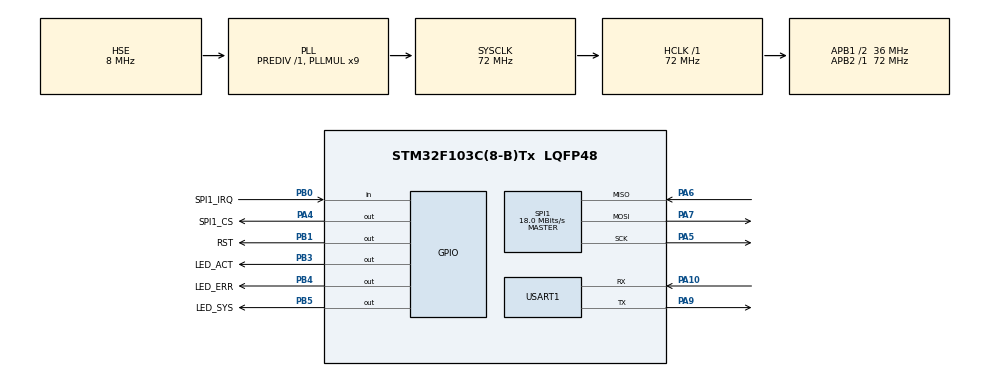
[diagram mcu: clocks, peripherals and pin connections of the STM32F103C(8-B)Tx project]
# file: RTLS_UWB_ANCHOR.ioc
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IWDG.Prescaler=IWDG_PRESCALER_64
IWDG.Reload=624
Mcu.Family=STM32F1
Mcu.Name=STM32F103C(8-B)Tx
Mcu.Package=LQFP48
NVIC.PriorityGroup=NVIC_PRIORITYGROUP_4
NVIC.SPI1_IRQn=true\:0\:0\:false\:false\:true\:true\:true\:true
NVIC.USART1_IRQn=true\:0\:0\:false\:false\:true\:true\:true\:true
PA10.Mode=Asynchronous
PA10.Signal=USART1_RX
PA13.Mode=Serial_Wire
PA13.Signal=SYS_JTMS-SWDIO
PA14.Mode=Serial_Wire
PA14.Signal=SYS_JTCK-SWCLK
PA4.GPIO_Label=SPI1_CS
PA4.Signal=GPIO_Output
PA5.Mode=Full_Duplex_Master
PA5.Signal=SPI1_SCK
PA6.Mode=Full_Duplex_Master
PA6.Signal=SPI1_MISO
PA7.Mode=Full_Duplex_Master
PA7.Signal=SPI1_MOSI
PA9.Mode=Asynchronous
PA9.Signal=USART1_TX
PB0.GPIO_Label=SPI1_IRQ
PB0.Signal=GPIO_Input
PB1.GPIO_Label=RST
PB1.Signal=GPIO_Output
PB3.GPIO_Label=LED_ACT
PB3.Signal=GPIO_Output
PB4.GPIO_Label=LED_ERR
PB4.Signal=GPIO_Output
PB5.GPIO_Label=LED_SYS
PB5.Signal=GPIO_Output
PD0-OSC_IN.Mode=HSE-External-Oscillator
PD0-OSC_IN.Signal=RCC_OSC_IN
PD1-OSC_OUT.Mode=HSE-External-Oscillator
PD1-OSC_OUT.Signal=RCC_OSC_OUT
ProjectManager.HeapSize=0x200
ProjectManager.StackSize=0x400
ProjectManager.TargetToolchain=STM32CubeIDE
RCC.AHBFreq_Value=72000000
RCC.APB1CLKDivider=RCC_HCLK_DIV2
RCC.APB1Freq_Value=36000000
RCC.APB1TimFreq_Value=72000000
RCC.APB2Freq_Value=72000000
RCC.APB2TimFreq_Value=72000000
RCC.HCLKFreq_Value=72000000
RCC.PLLMUL=RCC_PLL_MUL9
RCC.PLLSourceVirtual=RCC_PLLSOURCE_HSE
RCC.SYSCLKFreq_VALUE=72000000
RCC.SYSCLKSource=RCC_SYSCLKSOURCE_PLLCLK
RCC.USBFreq_Value=72000000
SPI1.BaudRatePrescaler=SPI_BAUDRATEPRESCALER_4
SPI1.CalculateBaudRate=18.0 MBits/s
SPI1.Direction=SPI_DIRECTION_2LINES
SPI1.Mode=SPI_MODE_MASTER
SPI1.VirtualType=VM_MASTER
USART1.VirtualMode=VM_ASYNC
VP_IWDG_VS_IWDG.Mode=IWDG_Activate
board=custom

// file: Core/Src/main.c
/* USER CODE BEGIN Header */
/**ANCHOR ANCHOR ANCHOR ANCHOR ANCHOR ANCHOR
 ******************************************************************************
 * @file           : main.c
 * @brief          : Main program body
 ******************************************************************************
 * @attention
 *
 * Copyright (c) 2023 STMicroelectronics.
 * All rights reserved.
 *
 * This software is licensed under terms that can be found in the LICENSE file
 * in the root directory of this software component.
 * If no LICENSE file comes with this software, it is provided AS-IS.
 *
 ******************************************************************************
 */
/* USER CODE END Header */
#include "main.h"
#include "iwdg.h"
#include "spi.h"
#include "usart.h"
#include "gpio.h"

/* USER CODE BEGIN Includes */
#include <stdio.h>
#include <string.h>
#include "decawave/dw_api.h"
#include "log/log.h"
#include "mac/mac.h"
#include "led/led.h"
/* USER CODE END Includes */

/* USER CODE BEGIN PTD */
// Payload of Anchor send to Tag
typedef struct
{
  uint8_t pollRx[5];
  uint8_t answerTx[5];
  uint8_t finalRx[5];
} __attribute__((packed)) reportPayload_t;

// timestamp
typedef union timestamp_u
{
  uint8_t raw[5];
  uint64_t full;
  struct
  {
    uint32_t low32;
    uint8_t high8;
  } __attribute__((packed));
  struct
  {
    uint8_t low8;
    uint32_t high32;
  } __attribute__((packed));
} timestamp_t;

// typedef struct
// {
//   uint8_t typemess;
//   uint8_t seq;
//   // uint8_t anchorAddr[2];
// } txHandle_t;
/* USER CODE END PTD */

/* USER CODE BEGIN PD */
// The four packets for ranging
#define POLL 0x01 // Poll is initiated by the tag
#define ANSWER 0x02
#define FINAL 0x03
#define REPORT 0x04 // Report contains all measurement from the anchor

#define TYPE 0 // POLL, ANWSER, FINAL, REPORT
#define SEQ 1  // sequence

#define RX_TIMEOUT 1000
/* USER CODE END PD */

/* USER CODE BEGIN PV */
// Timestamps for ranging
static dwTimestamp_t poll_rx;
static dwTimestamp_t answer_tx;
static dwTimestamp_t final_rx;

#define ANTENNA_DELAY 16475

packet_t rxPacket = {0};
packet_t txPacket = {0};
// txHandle_t txHandle = {0};

uint8_t curr_seq = 1;
int curr_anchor = 0;
long int seq_mess = 1;
dwDeviceTypes_t device = {
    .extendedFrameLength = FRAME_LENGTH_NORMAL,
    .pacSize = PAC_SIZE_8,
    .pulseFrequency = TX_PULSE_FREQ_64MHZ,
    .dataRate = TRX_RATE_850KBPS,//TRX_RATE_6800KBPS,
    .preambleLength = TX_PREAMBLE_LEN_128,
    .preambleCode = PREAMBLE_CODE_64MHZ_9,
    .channel = CHANNEL_5,
    .smartPower = true,
    .frameCheck = true,
    .permanentReceive = false,
    .deviceMode = IDLE_MODE,
    .forceTxPower = false,
};

uint8_t tagBaseAddr[2] = {0x20, 0x01};
uint8_t anchorAddress[8] = {0x89, 0x01};

volatile bool sentAck = false;
volatile bool recievedAck = false;
volatile bool initAck = true;
/* USER CODE END PV */

void SystemClock_Config(void);

/* USER CODE BEGIN 0 */
void dwInteruptHandler(void)
{
  dwReadSystemEventStatusRegister(&device);
  if (dwIsTransmitDone(&device))
  {
    dwClearTransmitStatus(&device);
    sentAck = true;
  }
  if (dwIsReceiveDone(&device))
  {
    dwClearReceiveStatus(&device);
    recievedAck = true;
  }
  if (dwIsReceiveTimestampAvailable(&device))
  {
    dwClearReceiveTimestampAvailableStatus(&device);
  }
  if (dwIsReceiveFailed(&device))
  {
    dwClearReceiveStatus(&device);
    dwRxSoftReset(&device);
  }
  if (dwIsReceiveTimeout(&device))
  {
    dwClearReceiveStatus(&device);
    dwRxSoftReset(&device);
  }
}

void clearAllFlag(void)
{
  dwClearTransmitStatus(&device);
  dwClearReceiveStatus(&device);
}

void log_data(char *string)
{
  HAL_UART_Transmit(&huart1, (uint8_t *)string, strlen(string), 1000);
}
/* USER CODE END 0 */

int main(void)
{

  /* MCU Configuration--------------------------------------------------------*/

  /* Reset of all peripherals, Initializes the Flash interface and the Systick. */
  HAL_Init();

  /* Configure the system clock */
  SystemClock_Config();

  /* Initialize all configured peripherals */
  MX_GPIO_Init();
  MX_SPI1_Init();
  MX_USART1_UART_Init();

  /* USER CODE BEGIN 2 */
  log_data("[ANCHOR START]\r\n");
  // MAC80215_PACKET_INIT(txPacket, MAC802154_TYPE_DATA);
  // MAC80215_PACKET_INIT(rxPacket, MAC802154_TYPE_DATA);
  // init DW1000
  dwInit(&device);
  if (dwConfigure(&device) == DW_ERROR_OK)
  {
    dwEnableAllLeds(&device);
  }
  else
  {
    log_data("[Configure failed]");
    while (1)
      ;
  }
  dwNewConfiguration(&device);
  dwSetDefaults(&device);
  dwCommitConfiguration(&device);
  clearAllFlag();

  MX_IWDG_Init();
  /* USER CODE END 2 */

  /* Infinite loop */
  while (1)
  {

    /* USER CODE BEGIN 3 */
    //dwInteruptHandler();
    // init receive range
    if (initAck)
    {
      initAck = false;
      char buf[10] = {0};
      // sprintf(buf, "####SEQ: %ld\r\n", seq_mess);
      // log_data(buf);
      memset(&txPacket, 0, sizeof(txPacket));
      memset(&rxPacket, 0, sizeof(rxPacket));
      dwNewReceive(&device);
      dwSetDefaults(&device);
      dwStartReceive(&device);
      do
      {
        dwReadSystemEventStatusRegister(&device);
      } while (!(device.sysstatus[1] & (((1 << RXDFR_BIT) | (1 << RXFCG_BIT)) >> 8)));
      dwInteruptHandler();
    }

    if (recievedAck)
    {
      recievedAck = false;
      // log_data("RxCallback\r\n");
      dwTimestamp_t arival;
      // check data length
      int datalength = dwGetDataLength(&device);
      if (datalength == 0)
      {
        return 0;
      }
      memset(&rxPacket, 0, sizeof(rxPacket));

      // get data from tag and out in rxPacket
      dwGetData(&device, (uint8_t *)&rxPacket, datalength);
      // check address of anchor due to tag send
      // correct return 0
      if (memcmp(rxPacket.destAddress, anchorAddress, 2))
      {
        // wrong address and repeat receive
        //log_data("error address\r\n");
        initAck = true;
      }
      else
      {
        // oke address
        switch (rxPacket.payload[TYPE])
        {
        case POLL:
          // log_data("POLL\r\n");
          if (rxPacket.payload[SEQ] != 1) // 1
          {
            log_data("wrong sequence number\r\n");
            return 0;
          }
          dwGetReceiveTimestamp(&device, &arival);
          //arival.timeFull -= ANTENNA_DELAY;
          poll_rx = arival;

          txPacket.payload[TYPE] = ANSWER;
          txPacket.payload[SEQ] = 2; // rxPacket.payload[SEQ] + 1; // 2
          memcpy(txPacket.destAddress, tagBaseAddr, 2);
          memcpy(txPacket.sourceAddress, anchorAddress, 2);
          dwNewTransmit(&device);
          dwSetDefaults(&device);
          dwSetData(&device, (uint8_t *)&txPacket, MAC802154_HEADER_LENGTH + 2);
          dwStartTransmit(&device);
          do
          {
            dwReadSystemEventStatusRegister(&device);
          } while (!(device.sysstatus[0] & (1 << TXFRS_BIT)));
          dwInteruptHandler();
          break;

        case FINAL:
          // log_data("FINAL\r\n");
          if (rxPacket.payload[SEQ] != 3) // 3
          {
            log_data("wrong sequence number\r\n");
            return 0;
          }

          dwGetReceiveTimestamp(&device, &arival);
          //arival.timeFull -= ANTENNA_DELAY;
          final_rx = arival;

          memset(&txPacket, 0, sizeof(txPacket));

          reportPayload_t *reportmess = (reportPayload_t *)(txPacket.payload + 2);

          txPacket.payload[TYPE] = REPORT;
          txPacket.payload[SEQ] = 4; // rxPacket.payload[SEQ] + 1; // 4
          memcpy(txPacket.destAddress, tagBaseAddr, 2);
          memcpy(txPacket.sourceAddress, anchorAddress, 2);
          memcpy(&reportmess->pollRx, &poll_rx, 5);
          memcpy(&reportmess->answerTx, &answer_tx, 5);
          memcpy(&reportmess->finalRx, &final_rx, 5);
          dwNewTransmit(&device);
          dwSetDefaults(&device);
          dwSetData(&device, (uint8_t *)&txPacket, MAC802154_HEADER_LENGTH + 2 + sizeof(reportPayload_t));
          dwStartTransmit(&device);
          do
          {
            dwReadSystemEventStatusRegister(&device);
          } while (!(device.sysstatus[0] & (1 << TXFRS_BIT)));
          dwInteruptHandler();
          break;
        }
      }
    }

    if (sentAck)
    {
      sentAck = false;
      dwTimestamp_t departure;
      dwGetTransmitTimestamp(&device, &departure);
      //departure.timeFull += ANTENNA_DELAY;
      // log_data("TxCallback\r\n");
      switch (txPacket.payload[TYPE])
      {
      case ANSWER:
        // log_data("ANSWER\r\n");
        answer_tx = departure;
        //receive Final
        dwNewReceive(&device);
        dwSetDefaults(&device);
        dwStartReceive(&device);
        do
        {
          dwReadSystemEventStatusRegister(&device);
        } while (!(device.sysstatus[1] & (((1 << RXDFR_BIT) | (1 << RXFCG_BIT)) >> 8)));
        dwInteruptHandler();
        break;
      case REPORT:
        // log_data("REPORT\r\n");
        // curr_seq = 1;
        seq_mess++;
        initAck = true;

        HAL_IWDG_Refresh(&hiwdg);

        break;
      }
      //       dwSetReceiveWaitTimeout(&device, RX_TIMEOUT);
      // dwWriteSystemConfigurationRegister(&device);
    }
  }
  /* USER CODE END 3 */
}

void SystemClock_Config(void)
{
  RCC_OscInitTypeDef RCC_OscInitStruct = {0};
  RCC_ClkInitTypeDef RCC_ClkInitStruct = {0};

  /** Initializes the RCC Oscillators according to the specified parameters
  * in the RCC_OscInitTypeDef structure.
  */
  RCC_OscInitStruct.OscillatorType = RCC_OSCILLATORTYPE_LSI|RCC_OSCILLATORTYPE_HSE;
  RCC_OscInitStruct.HSEState = RCC_HSE_ON;
  RCC_OscInitStruct.HSEPredivValue = RCC_HSE_PREDIV_DIV1;
  RCC_OscInitStruct.HSIState = RCC_HSI_ON;
  RCC_OscInitStruct.LSIState = RCC_LSI_ON;
  RCC_OscInitStruct.PLL.PLLState = RCC_PLL_ON;
  RCC_OscInitStruct.PLL.PLLSource = RCC_PLLSOURCE_HSE;
  RCC_OscInitStruct.PLL.PLLMUL = RCC_PLL_MUL9;
  if (HAL_RCC_OscConfig(&RCC_OscInitStruct) != HAL_OK)
  {
    Error_Handler();
  }

  /** Initializes the CPU, AHB and APB buses clocks
  */
  RCC_ClkInitStruct.ClockType = RCC_CLOCKTYPE_HCLK|RCC_CLOCKTYPE_SYSCLK
                              |RCC_CLOCKTYPE_PCLK1|RCC_CLOCKTYPE_PCLK2;
  RCC_ClkInitStruct.SYSCLKSource = RCC_SYSCLKSOURCE_PLLCLK;
  RCC_ClkInitStruct.AHBCLKDivider = RCC_SYSCLK_DIV1;
  RCC_ClkInitStruct.APB1CLKDivider = RCC_HCLK_DIV2;
  RCC_ClkInitStruct.APB2CLKDivider = RCC_HCLK_DIV1;

  if (HAL_RCC_ClockConfig(&RCC_ClkInitStruct, FLASH_LATENCY_2) != HAL_OK)
  {
    Error_Handler();
  }
}

void Error_Handler(void)
{
  __disable_irq();
  while (1)
  {
  }
}
